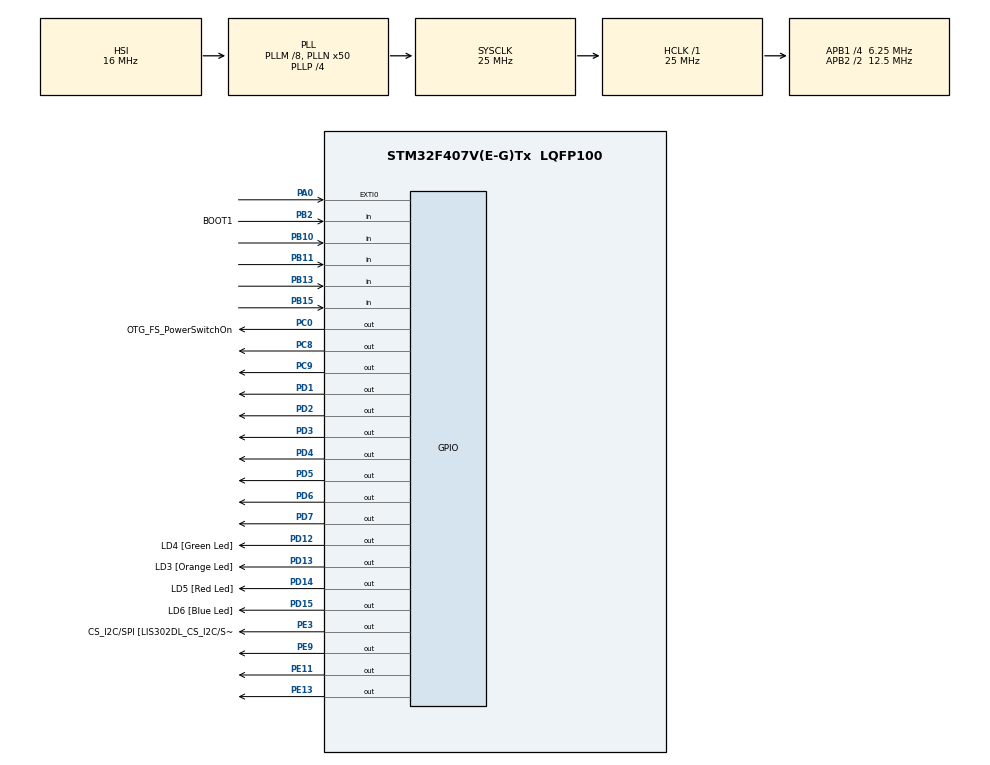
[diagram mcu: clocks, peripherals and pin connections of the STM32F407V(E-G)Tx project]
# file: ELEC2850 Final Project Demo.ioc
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Mcu.Family=STM32F4
Mcu.Name=STM32F407V(E-G)Tx
Mcu.Package=LQFP100
NVIC.EXTI0_IRQn=true\:0\:0\:false\:false\:true\:true\:true\:true
NVIC.PriorityGroup=NVIC_PRIORITYGROUP_0
PA0-WKUP.GPIO_ModeDefaultEXTI=GPIO_MODE_IT_RISING
PA0-WKUP.GPIO_PuPd=GPIO_PULLDOWN
PA0-WKUP.Signal=GPXTI0
PA10.GPIO_Label=OTG_FS_ID
PA10.GPIO_Mode=GPIO_MODE_AF_PP
PA10.GPIO_PuPd=GPIO_NOPULL
PA10.GPIO_Speed=GPIO_SPEED_FREQ_LOW
PA10.Signal=USB_OTG_FS_ID
PA11.GPIO_Label=OTG_FS_DM
PA11.GPIO_Mode=GPIO_MODE_AF_PP
PA11.GPIO_PuPd=GPIO_NOPULL
PA11.GPIO_Speed=GPIO_SPEED_FREQ_LOW
PA11.Signal=USB_OTG_FS_DM
PA12.GPIO_Label=OTG_FS_DP
PA12.GPIO_Mode=GPIO_MODE_AF_PP
PA12.GPIO_PuPd=GPIO_NOPULL
PA12.GPIO_Speed=GPIO_SPEED_FREQ_LOW
PA12.Signal=USB_OTG_FS_DP
PA13.GPIO_Label=SWDIO
PA13.Signal=SYS_JTMS-SWDIO
PA14.GPIO_Label=SWCLK
PA14.Signal=SYS_JTCK-SWCLK
PA4.GPIO_Label=I2S3_WS [CS43L22_LRCK]
PA4.GPIO_Mode=GPIO_MODE_AF_PP
PA4.GPIO_PuPd=GPIO_NOPULL
PA4.GPIO_Speed=GPIO_SPEED_FREQ_LOW
PA4.Signal=I2S3_WS
PA5.GPIO_Label=SPI1_SCK [LIS302DL_SCL/SPC]
PA5.GPIO_Mode=GPIO_MODE_AF_PP
PA5.GPIO_PuPd=GPIO_NOPULL
PA5.GPIO_Speed=GPIO_SPEED_FREQ_LOW
PA5.Signal=SPI1_SCK
PA6.GPIO_Label=SPI1_MISO [LIS302DL_SDO]
PA6.GPIO_Mode=GPIO_MODE_AF_PP
PA6.GPIO_PuPd=GPIO_NOPULL
PA6.GPIO_Speed=GPIO_SPEED_FREQ_LOW
PA6.Signal=SPI1_MISO
PA7.GPIO_Label=SPI1_MOSI [LIS302DL_SDA/SDI/SDO]
PA7.GPIO_Mode=GPIO_MODE_AF_PP
PA7.GPIO_PuPd=GPIO_NOPULL
PA7.GPIO_Speed=GPIO_SPEED_FREQ_LOW
PA7.Signal=SPI1_MOSI
PA9.GPIO_Label=VBUS_FS
PA9.GPIO_Mode=GPIO_MODE_INPUT
PA9.GPIO_PuPd=GPIO_NOPULL
PA9.Signal=USB_OTG_FS_VBUS
PB10.GPIO_PuPd=GPIO_PULLDOWN
PB10.Signal=GPIO_Input
PB11.GPIO_PuPd=GPIO_PULLDOWN
PB11.Signal=GPIO_Input
PB13.GPIO_PuPd=GPIO_PULLDOWN
PB13.Signal=GPIO_Input
PB15.GPIO_PuPd=GPIO_PULLDOWN
PB15.Signal=GPIO_Input
PB2.GPIO_Label=BOOT1
PB2.GPIO_Mode=GPIO_MODE_INPUT
PB2.GPIO_PuPd=GPIO_NOPULL
PB2.Signal=GPIO_Input
PB3.GPIO_Label=SWO
PB3.Signal=SYS_JTDO-SWO
PB6.GPIO_Label=Audio_SCL [CS43L22_SCL]
PB6.GPIO_Mode=GPIO_MODE_AF_OD
PB6.GPIO_PuPd=GPIO_NOPULL
PB6.GPIO_Speed=GPIO_SPEED_FREQ_LOW
PB6.Signal=I2C1_SCL
PB9.GPIO_Label=Audio_SDA [CS43L22_SDA]
PB9.GPIO_Mode=GPIO_MODE_AF_OD
PB9.GPIO_PuPd=GPIO_NOPULL
PB9.GPIO_Speed=GPIO_SPEED_FREQ_LOW
PB9.Signal=I2C1_SDA
PC0.GPIO_Label=OTG_FS_PowerSwitchOn
PC0.GPIO_PuPd=GPIO_NOPULL
PC0.GPIO_Speed=GPIO_SPEED_FREQ_LOW
PC0.PinState=GPIO_PIN_SET
PC0.Signal=GPIO_Output
PC10.GPIO_Label=I2S3_SCK [CS43L22_SCLK]
PC10.GPIO_Mode=GPIO_MODE_AF_PP
PC10.GPIO_PuPd=GPIO_NOPULL
PC10.GPIO_Speed=GPIO_SPEED_FREQ_LOW
PC10.Signal=I2S3_CK
PC12.GPIO_Label=I2S3_SD [CS43L22_SDIN]
PC12.GPIO_Mode=GPIO_MODE_AF_PP
PC12.GPIO_PuPd=GPIO_NOPULL
PC12.GPIO_Speed=GPIO_SPEED_FREQ_LOW
PC12.Signal=I2S3_SD
PC14-OSC32_IN.GPIO_Label=PC14-OSC32_IN
PC14-OSC32_IN.Signal=RCC_OSC32_IN
PC15-OSC32_OUT.GPIO_Label=PC15-OSC32_OUT
PC15-OSC32_OUT.Signal=RCC_OSC32_OUT
PC3.GPIO_Label=PDM_OUT [MP45DT02_DOUT]
PC3.GPIO_Mode=GPIO_MODE_AF_PP
PC3.GPIO_PuPd=GPIO_NOPULL
PC3.GPIO_Speed=GPIO_SPEED_FREQ_LOW
PC3.Signal=I2S2_SD
PC7.GPIO_Label=I2S3_MCK [CS43L22_MCLK]
PC7.GPIO_Mode=GPIO_MODE_AF_PP
PC7.GPIO_PuPd=GPIO_NOPULL
PC7.GPIO_Speed=GPIO_SPEED_FREQ_LOW
PC7.Signal=I2S3_MCK
PC8.Signal=GPIO_Output
PC9.Signal=GPIO_Output
PD1.Signal=GPIO_Output
PD12.GPIO_Label=LD4 [Green Led]
PD12.GPIO_PuPd=GPIO_NOPULL
PD12.GPIO_Speed=GPIO_SPEED_FREQ_LOW
PD12.Signal=GPIO_Output
PD13.GPIO_Label=LD3 [Orange Led]
PD13.GPIO_PuPd=GPIO_NOPULL
PD13.GPIO_Speed=GPIO_SPEED_FREQ_LOW
PD13.Signal=GPIO_Output
PD14.GPIO_Label=LD5 [Red Led]
PD14.GPIO_PuPd=GPIO_NOPULL
PD14.GPIO_Speed=GPIO_SPEED_FREQ_LOW
PD14.Signal=GPIO_Output
PD15.GPIO_Label=LD6 [Blue Led]
PD15.GPIO_PuPd=GPIO_NOPULL
PD15.GPIO_Speed=GPIO_SPEED_FREQ_LOW
PD15.Signal=GPIO_Output
PD2.Signal=GPIO_Output
PD3.Signal=GPIO_Output
PD4.Signal=GPIO_Output
PD5.Signal=GPIO_Output
PD6.Signal=GPIO_Output
PD7.Signal=GPIO_Output
PE11.Signal=GPIO_Output
PE13.Signal=GPIO_Output
PE3.GPIO_Label=CS_I2C/SPI [LIS302DL_CS_I2C/SPI]
PE3.GPIO_PuPd=GPIO_NOPULL
PE3.GPIO_Speed=GPIO_SPEED_FREQ_LOW
PE3.Signal=GPIO_Output
PE9.Signal=GPIO_Output
PH0-OSC_IN.GPIO_Label=PH0-OSC_IN
PH0-OSC_IN.Signal=RCC_OSC_IN
PH1-OSC_OUT.GPIO_Label=PH1-OSC_OUT
PH1-OSC_OUT.Signal=RCC_OSC_OUT
ProjectManager.HeapSize=0x200
ProjectManager.StackSize=0x400
ProjectManager.TargetToolchain=STM32CubeIDE
RCC.48MHZClocksFreq_Value=14285714.285714285
RCC.AHBFreq_Value=25000000
RCC.APB1CLKDivider=RCC_HCLK_DIV4
RCC.APB1Freq_Value=6250000
RCC.APB1TimFreq_Value=12500000
RCC.APB2CLKDivider=RCC_HCLK_DIV2
RCC.APB2Freq_Value=12500000
RCC.APB2TimFreq_Value=25000000
RCC.CortexFreq_Value=25000000
RCC.HCLKFreq_Value=25000000
RCC.HSE_VALUE=8000000
RCC.HSI_VALUE=16000000
RCC.LSE_VALUE=32768
RCC.PLLM=8
RCC.PLLN=50
RCC.PLLP=RCC_PLLP_DIV4
RCC.PLLQ=7
RCC.SYSCLKFreq_VALUE=25000000
RCC.SYSCLKSource=RCC_SYSCLKSOURCE_PLLCLK
RCC.VCOOutputFreq_Value=100000000
board=STM32F407G-DISC1

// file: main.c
/* USER CODE BEGIN Header */
/**
  ******************************************************************************
  * @file           : main.c
  * @brief          : Main program body
  ******************************************************************************
  * @attention
  *
  * Copyright (c) 2023 STMicroelectronics.
  * All rights reserved.
  *
  * This software is licensed under terms that can be found in the LICENSE file
  * in the root directory of this software component.
  * If no LICENSE file comes with this software, it is provided AS-IS.
  *
  ******************************************************************************
  */
/* USER CODE END Header */
#include "main.h"

/* USER CODE BEGIN Includes */
#include <time.h>
#include "projectfunctions.h"
/* USER CODE END Includes */

void SystemClock_Config(void);
static void MX_GPIO_Init(void);

/* USER CODE BEGIN 0 */
//NAME - JACK EDGELY
//DATE - 4/6/2023
//ELEC2850 - Microcontrollers using C programs
//LED guessing game

//Zero means that they have not guessed the LED. One means they have guessed the LED
uint8_t releasedNumber = 0;
//0 = Blue, 1 = Red, 2 = Orange, 3 = Green
uint8_t ledGuessed[4] = {0, 0, 0, 0};

/* USER CODE END 0 */

int main(void)
{

  /* MCU Configuration--------------------------------------------------------*/

  /* Reset of all peripherals, Initializes the Flash interface and the Systick. */

	HAL_Init();

  /* Configure the system clock */
	SystemClock_Config();

  /* Initialize all configured peripherals */
	MX_GPIO_Init();
  /* USER CODE BEGIN 2 */
	column_signal_adjuster(0);
	seven_segment_control(10);
	HAL_GPIO_WritePin(GPIOD, GPIO_PIN_12, 1);
	HAL_GPIO_WritePin(GPIOD, GPIO_PIN_13, 0);
	HAL_GPIO_WritePin(GPIOD, GPIO_PIN_14, 1);
	HAL_GPIO_WritePin(GPIOD, GPIO_PIN_15, 0);
	delay(DELAY);
	HAL_GPIO_WritePin(GPIOD, GPIO_PIN_12, 0);
	HAL_GPIO_WritePin(GPIOD, GPIO_PIN_13, 1);
	HAL_GPIO_WritePin(GPIOD, GPIO_PIN_14, 0);
	HAL_GPIO_WritePin(GPIOD, GPIO_PIN_15, 1);
	delay(DELAY);
	HAL_GPIO_WritePin(GPIOD, GPIO_PIN_12, 1);
	HAL_GPIO_WritePin(GPIOD, GPIO_PIN_13, 0);
	HAL_GPIO_WritePin(GPIOD, GPIO_PIN_14, 1);
	HAL_GPIO_WritePin(GPIOD, GPIO_PIN_15, 0);
	delay(DELAY);
	HAL_GPIO_WritePin(GPIOD, GPIO_PIN_12, 0);
	HAL_GPIO_WritePin(GPIOD, GPIO_PIN_13, 1);
	HAL_GPIO_WritePin(GPIOD, GPIO_PIN_14, 0);
	HAL_GPIO_WritePin(GPIOD, GPIO_PIN_15, 1);
	delay(DELAY);
  /* USER CODE END 2 */

  /* Infinite loop */
  /* USER CODE BEGIN WHILE */

	//correctNumbers is the bank of numbers
	srand(time(0));
	uint8_t correctNumbers[4];
	random_generator(correctNumbers);
	uint8_t streak = 0;
	uint8_t keyPressed = 0;
	uint8_t guessedCorrectly = 0;
	uint8_t wonTheGame = 0; // 0 means still taking input, 1 means WON, 2 means LOST
	uint8_t finalGuessArray[4] = {0, 0, 0, 0};
	while (1)
	{
		while (releasedNumber == 0)
		{
			HAL_GPIO_WritePin(GPIOD, GPIO_PIN_15, ledGuessed[0]);
			HAL_GPIO_WritePin(GPIOD, GPIO_PIN_14, ledGuessed[1]);
			HAL_GPIO_WritePin(GPIOD, GPIO_PIN_13, ledGuessed[2]);
			HAL_GPIO_WritePin(GPIOD, GPIO_PIN_12, ledGuessed[3]);
			victory_or_defeat(wonTheGame);
			while (streak == 4 && wonTheGame == 0){
				if (HAL_GPIO_ReadPin(GPIOB, GPIO_PIN_15) == 1)
				{
					keyPressed = key_finder_function(GPIO_PIN_15);
					seven_segment_control(keyPressed);
					wonTheGame = final_stage(keyPressed, correctNumbers, finalGuessArray);
					while (HAL_GPIO_ReadPin(GPIOB, GPIO_PIN_15) == 1);
				}
				else if (HAL_GPIO_ReadPin(GPIOB, GPIO_PIN_13) == 1)
				{
					keyPressed = key_finder_function(GPIO_PIN_13);
					seven_segment_control(keyPressed);
					wonTheGame = final_stage(keyPressed, correctNumbers, finalGuessArray);
					while (HAL_GPIO_ReadPin(GPIOB, GPIO_PIN_13) == 1);
				}
				else if (HAL_GPIO_ReadPin(GPIOB, GPIO_PIN_11) == 1)
				{
					keyPressed = key_finder_function(GPIO_PIN_11);
					seven_segment_control(keyPressed);
					wonTheGame = final_stage(keyPressed, correctNumbers, finalGuessArray);
					while (HAL_GPIO_ReadPin(GPIOB, GPIO_PIN_11) == 1);
				}
			}
		}
		while (releasedNumber != 0)
		{
			led_blinker(releasedNumber);
			delay(SHORTDELAY);
			led_blinker(0);
			delay(SHORTDELAY);
			if (HAL_GPIO_ReadPin(GPIOB, GPIO_PIN_15) == 1)
			{
				keyPressed = key_finder_function(GPIO_PIN_15);
				seven_segment_control(keyPressed);
				while (HAL_GPIO_ReadPin(GPIOB, GPIO_PIN_15) == 1);
				guessedCorrectly = guess_evaluator(correctNumbers, streak, keyPressed);
			}
			else if (HAL_GPIO_ReadPin(GPIOB, GPIO_PIN_13) == 1)
			{
				keyPressed = key_finder_function(GPIO_PIN_13);
				seven_segment_control(keyPressed);
				while (HAL_GPIO_ReadPin(GPIOB, GPIO_PIN_13) == 1);
				guessedCorrectly = guess_evaluator(correctNumbers, streak, keyPressed);
			}
			else if (HAL_GPIO_ReadPin(GPIOB, GPIO_PIN_11) == 1)
			{
				keyPressed = key_finder_function(GPIO_PIN_11);
				seven_segment_control(keyPressed);
				while (HAL_GPIO_ReadPin(GPIOB, GPIO_PIN_11) == 1);
				guessedCorrectly = guess_evaluator(correctNumbers, streak, keyPressed);
			}
			else if (HAL_GPIO_ReadPin(GPIOB, GPIO_PIN_10) == 1)
			{
				keyPressed = key_finder_function(GPIO_PIN_10);
				if (keyPressed == 12) //Fringe case for if the key pressed was the asterisk
				{
					seven_segment_control(correctNumbers[streak]);
					delay(SHORTDELAY);
					seven_segment_control(10);
					continue;
				}
				if (keyPressed == 11) //Fringe case for the hashtag
				{
					continue;
				}
				seven_segment_control(keyPressed);
				guessedCorrectly = guess_evaluator(correctNumbers, streak, keyPressed);
				while (HAL_GPIO_ReadPin(GPIOB, GPIO_PIN_10) == 1);
			}
			//If the guess_evaluator function returns 1 [the guess was correct]
			//guessedCorrectly gets reset. The global array, ledGuessed, logs that the LED has been guessed
			//Streak is increased by one. The global variable, releasedNumber, is reset.
			if (guessedCorrectly == 1)
			{
				guessedCorrectly = 0;
				ledGuessed[15 - releasedNumber] = 1;
				streak++;
				releasedNumber = 0;
			}
		}
	}

    /* USER CODE END WHILE */

}

void SystemClock_Config(void)
{
  RCC_OscInitTypeDef RCC_OscInitStruct = {0};
  RCC_ClkInitTypeDef RCC_ClkInitStruct = {0};

  /** Configure the main internal regulator output voltage
  */
  __HAL_RCC_PWR_CLK_ENABLE();
  __HAL_PWR_VOLTAGESCALING_CONFIG(PWR_REGULATOR_VOLTAGE_SCALE1);

  /** Initializes the RCC Oscillators according to the specified parameters
  * in the RCC_OscInitTypeDef structure.
  */
  RCC_OscInitStruct.OscillatorType = RCC_OSCILLATORTYPE_HSI;
  RCC_OscInitStruct.HSIState = RCC_HSI_ON;
  RCC_OscInitStruct.HSICalibrationValue = RCC_HSICALIBRATION_DEFAULT;
  RCC_OscInitStruct.PLL.PLLState = RCC_PLL_ON;
  RCC_OscInitStruct.PLL.PLLSource = RCC_PLLSOURCE_HSI;
  RCC_OscInitStruct.PLL.PLLM = 8;
  RCC_OscInitStruct.PLL.PLLN = 50;
  RCC_OscInitStruct.PLL.PLLP = RCC_PLLP_DIV4;
  RCC_OscInitStruct.PLL.PLLQ = 7;
  if (HAL_RCC_OscConfig(&RCC_OscInitStruct) != HAL_OK)
  {
    Error_Handler();
  }

  /** Initializes the CPU, AHB and APB buses clocks
  */
  RCC_ClkInitStruct.ClockType = RCC_CLOCKTYPE_HCLK|RCC_CLOCKTYPE_SYSCLK
                              |RCC_CLOCKTYPE_PCLK1|RCC_CLOCKTYPE_PCLK2;
  RCC_ClkInitStruct.SYSCLKSource = RCC_SYSCLKSOURCE_PLLCLK;
  RCC_ClkInitStruct.AHBCLKDivider = RCC_SYSCLK_DIV1;
  RCC_ClkInitStruct.APB1CLKDivider = RCC_HCLK_DIV4;
  RCC_ClkInitStruct.APB2CLKDivider = RCC_HCLK_DIV2;

  if (HAL_RCC_ClockConfig(&RCC_ClkInitStruct, FLASH_LATENCY_0) != HAL_OK)
  {
    Error_Handler();
  }
}

static void MX_GPIO_Init(void)
{
  GPIO_InitTypeDef GPIO_InitStruct = {0};

  /* GPIO Ports Clock Enable */
  __HAL_RCC_GPIOE_CLK_ENABLE();
  __HAL_RCC_GPIOC_CLK_ENABLE();
  __HAL_RCC_GPIOH_CLK_ENABLE();
  __HAL_RCC_GPIOA_CLK_ENABLE();
  __HAL_RCC_GPIOB_CLK_ENABLE();
  __HAL_RCC_GPIOD_CLK_ENABLE();

  /*Configure GPIO pin Output Level */
  HAL_GPIO_WritePin(GPIOE, CS_I2C_SPI_Pin|GPIO_PIN_9|GPIO_PIN_11|GPIO_PIN_13, GPIO_PIN_RESET);

  /*Configure GPIO pin Output Level */
  HAL_GPIO_WritePin(OTG_FS_PowerSwitchOn_GPIO_Port, OTG_FS_PowerSwitchOn_Pin, GPIO_PIN_SET);

  /*Configure GPIO pin Output Level */
  HAL_GPIO_WritePin(GPIOD, LD4_Pin|LD3_Pin|LD5_Pin|LD6_Pin
                          |GPIO_PIN_1|GPIO_PIN_2|GPIO_PIN_3|GPIO_PIN_4
                          |GPIO_PIN_5|GPIO_PIN_6|GPIO_PIN_7, GPIO_PIN_RESET);

  /*Configure GPIO pin Output Level */
  HAL_GPIO_WritePin(GPIOC, GPIO_PIN_8|GPIO_PIN_9, GPIO_PIN_RESET);

  /*Configure GPIO pins : CS_I2C_SPI_Pin PE9 PE11 PE13 */
  GPIO_InitStruct.Pin = CS_I2C_SPI_Pin|GPIO_PIN_9|GPIO_PIN_11|GPIO_PIN_13;
  GPIO_InitStruct.Mode = GPIO_MODE_OUTPUT_PP;
  GPIO_InitStruct.Pull = GPIO_NOPULL;
  GPIO_InitStruct.Speed = GPIO_SPEED_FREQ_LOW;
  HAL_GPIO_Init(GPIOE, &GPIO_InitStruct);

  /*Configure GPIO pins : OTG_FS_PowerSwitchOn_Pin PC8 PC9 */
  GPIO_InitStruct.Pin = OTG_FS_PowerSwitchOn_Pin|GPIO_PIN_8|GPIO_PIN_9;
  GPIO_InitStruct.Mode = GPIO_MODE_OUTPUT_PP;
  GPIO_InitStruct.Pull = GPIO_NOPULL;
  GPIO_InitStruct.Speed = GPIO_SPEED_FREQ_LOW;
  HAL_GPIO_Init(GPIOC, &GPIO_InitStruct);

  /*Configure GPIO pin : PDM_OUT_Pin */
  GPIO_InitStruct.Pin = PDM_OUT_Pin;
  GPIO_InitStruct.Mode = GPIO_MODE_AF_PP;
  GPIO_InitStruct.Pull = GPIO_NOPULL;
  GPIO_InitStruct.Speed = GPIO_SPEED_FREQ_LOW;
  GPIO_InitStruct.Alternate = GPIO_AF5_SPI2;
  HAL_GPIO_Init(PDM_OUT_GPIO_Port, &GPIO_InitStruct);

  /*Configure GPIO pin : PA0 */
  GPIO_InitStruct.Pin = GPIO_PIN_0;
  GPIO_InitStruct.Mode = GPIO_MODE_IT_RISING;
  GPIO_InitStruct.Pull = GPIO_PULLDOWN;
  HAL_GPIO_Init(GPIOA, &GPIO_InitStruct);

  /*Configure GPIO pin : I2S3_WS_Pin */
  GPIO_InitStruct.Pin = I2S3_WS_Pin;
  GPIO_InitStruct.Mode = GPIO_MODE_AF_PP;
  GPIO_InitStruct.Pull = GPIO_NOPULL;
  GPIO_InitStruct.Speed = GPIO_SPEED_FREQ_LOW;
  GPIO_InitStruct.Alternate = GPIO_AF6_SPI3;
  HAL_GPIO_Init(I2S3_WS_GPIO_Port, &GPIO_InitStruct);

  /*Configure GPIO pins : SPI1_SCK_Pin SPI1_MISO_Pin SPI1_MOSI_Pin */
  GPIO_InitStruct.Pin = SPI1_SCK_Pin|SPI1_MISO_Pin|SPI1_MOSI_Pin;
  GPIO_InitStruct.Mode = GPIO_MODE_AF_PP;
  GPIO_InitStruct.Pull = GPIO_NOPULL;
  GPIO_InitStruct.Speed = GPIO_SPEED_FREQ_LOW;
  GPIO_InitStruct.Alternate = GPIO_AF5_SPI1;
  HAL_GPIO_Init(GPIOA, &GPIO_InitStruct);

  /*Configure GPIO pin : BOOT1_Pin */
  GPIO_InitStruct.Pin = BOOT1_Pin;
  GPIO_InitStruct.Mode = GPIO_MODE_INPUT;
  GPIO_InitStruct.Pull = GPIO_NOPULL;
  HAL_GPIO_Init(BOOT1_GPIO_Port, &GPIO_InitStruct);

  /*Configure GPIO pins : PB10 PB11 PB13 PB15 */
  GPIO_InitStruct.Pin = GPIO_PIN_10|GPIO_PIN_11|GPIO_PIN_13|GPIO_PIN_15;
  GPIO_InitStruct.Mode = GPIO_MODE_INPUT;
  GPIO_InitStruct.Pull = GPIO_PULLDOWN;
  HAL_GPIO_Init(GPIOB, &GPIO_InitStruct);

  /*Configure GPIO pins : LD4_Pin LD3_Pin LD5_Pin LD6_Pin
                           PD1 PD2 PD3 PD4
                           PD5 PD6 PD7 */
  GPIO_InitStruct.Pin = LD4_Pin|LD3_Pin|LD5_Pin|LD6_Pin
                          |GPIO_PIN_1|GPIO_PIN_2|GPIO_PIN_3|GPIO_PIN_4
                          |GPIO_PIN_5|GPIO_PIN_6|GPIO_PIN_7;
  GPIO_InitStruct.Mode = GPIO_MODE_OUTPUT_PP;
  GPIO_InitStruct.Pull = GPIO_NOPULL;
  GPIO_InitStruct.Speed = GPIO_SPEED_FREQ_LOW;
  HAL_GPIO_Init(GPIOD, &GPIO_InitStruct);

  /*Configure GPIO pins : I2S3_MCK_Pin I2S3_SCK_Pin I2S3_SD_Pin */
  GPIO_InitStruct.Pin = I2S3_MCK_Pin|I2S3_SCK_Pin|I2S3_SD_Pin;
  GPIO_InitStruct.Mode = GPIO_MODE_AF_PP;
  GPIO_InitStruct.Pull = GPIO_NOPULL;
  GPIO_InitStruct.Speed = GPIO_SPEED_FREQ_LOW;
  GPIO_InitStruct.Alternate = GPIO_AF6_SPI3;
  HAL_GPIO_Init(GPIOC, &GPIO_InitStruct);

  /*Configure GPIO pin : VBUS_FS_Pin */
  GPIO_InitStruct.Pin = VBUS_FS_Pin;
  GPIO_InitStruct.Mode = GPIO_MODE_INPUT;
  GPIO_InitStruct.Pull = GPIO_NOPULL;
  HAL_GPIO_Init(VBUS_FS_GPIO_Port, &GPIO_InitStruct);

  /*Configure GPIO pins : OTG_FS_ID_Pin OTG_FS_DM_Pin OTG_FS_DP_Pin */
  GPIO_InitStruct.Pin = OTG_FS_ID_Pin|OTG_FS_DM_Pin|OTG_FS_DP_Pin;
  GPIO_InitStruct.Mode = GPIO_MODE_AF_PP;
  GPIO_InitStruct.Pull = GPIO_NOPULL;
  GPIO_InitStruct.Speed = GPIO_SPEED_FREQ_LOW;
  GPIO_InitStruct.Alternate = GPIO_AF10_OTG_FS;
  HAL_GPIO_Init(GPIOA, &GPIO_InitStruct);

  /*Configure GPIO pins : Audio_SCL_Pin Audio_SDA_Pin */
  GPIO_InitStruct.Pin = Audio_SCL_Pin|Audio_SDA_Pin;
  GPIO_InitStruct.Mode = GPIO_MODE_AF_OD;
  GPIO_InitStruct.Pull = GPIO_NOPULL;
  GPIO_InitStruct.Speed = GPIO_SPEED_FREQ_LOW;
  GPIO_InitStruct.Alternate = GPIO_AF4_I2C1;
  HAL_GPIO_Init(GPIOB, &GPIO_InitStruct);

  /* EXTI interrupt init*/
  HAL_NVIC_SetPriority(EXTI0_IRQn, 0, 0);
  HAL_NVIC_EnableIRQ(EXTI0_IRQn);

}

/* USER CODE BEGIN 4 */
void HAL_GPIO_EXTI_Callback(uint16_t GPIO_Pin)
{
	//Need to solve the issue of not allowing numbers to be repeated
	//This can be solved by either making the ledGuessed variable a global variable
	//Potential to solve it by using pointers?
	while (HAL_GPIO_ReadPin(GPIOA, GPIO_PIN_0) == 1)
	{
		led_blinker(12);
	    delay(LONGDELAY);
	    if (HAL_GPIO_ReadPin(GPIOA, GPIO_PIN_0) == 0 && ledGuessed[3] == 0)
	    {
	    	releasedNumber = 12;
	    	break;
	    }
	    led_blinker(13);
	    delay(LONGDELAY);
	    if (HAL_GPIO_ReadPin(GPIOA, GPIO_PIN_0) == 0 && ledGuessed[2] == 0)
	    {
	    	releasedNumber = 13;
	    	break;
	    }
	    led_blinker(14);
	    delay(LONGDELAY);
	    if (HAL_GPIO_ReadPin(GPIOA, GPIO_PIN_0) == 0 && ledGuessed[1] == 0)
	    {
	    	releasedNumber = 14;
	    	break;
	    }
	    led_blinker(15);
	    delay(LONGDELAY);
	    if (HAL_GPIO_ReadPin(GPIOA, GPIO_PIN_0) == 0 && ledGuessed[0] == 0)
	    {
	    	releasedNumber = 15;
	    	break;
	    }
	    if (HAL_GPIO_ReadPin(GPIOA, GPIO_PIN_0) == 0 && ledGuessed[0] == 1)
	    {
	    	//If the green LED has been guessed
	    	led_blinker(12);
		    delay(LONGDELAY);
	    	if (ledGuessed[3] == 0)
	    	{
	    		releasedNumber = 12;
	    		break;
	    	}
	    	led_blinker(13);
		    delay(LONGDELAY);
	    	if (ledGuessed[2] == 0)
	    	{
	    		releasedNumber = 13;
	    		break;
	    	}
	    	led_blinker(14);
		    delay(LONGDELAY);
	    	if (ledGuessed[1] == 0)
	    	{
	    		releasedNumber = 14;
	    		break;
	    	}
	    	else
	    	{
	    		releasedNumber = 0;
	    		break;
	    	}
	    }
	}
	//If all the LEDs were already guessed
}
/* USER CODE END 4 */

void Error_Handler(void)
{
  __disable_irq();
  while (1)
  {
  }
}
